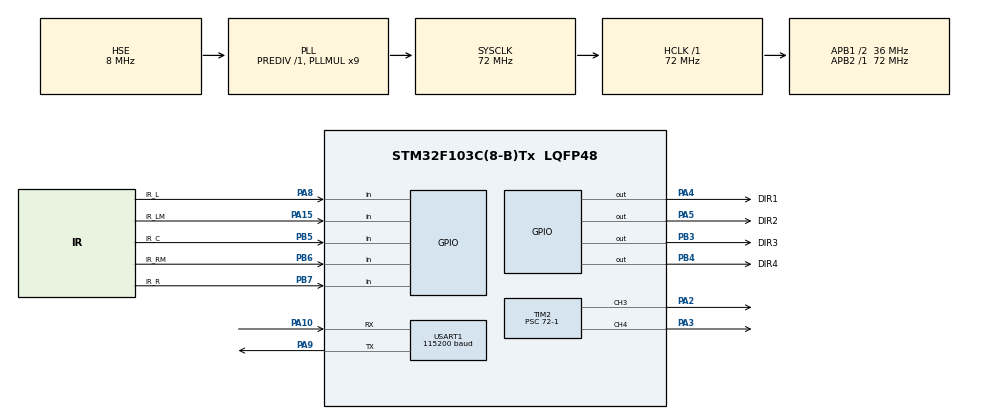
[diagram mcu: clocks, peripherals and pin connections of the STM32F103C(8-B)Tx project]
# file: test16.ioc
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Mcu.Family=STM32F1
Mcu.Name=STM32F103C(8-B)Tx
Mcu.Package=LQFP48
NVIC.EXTI15_10_IRQn=true\:0\:0\:false\:true\:true\:true\:true\:false
NVIC.PriorityGroup=NVIC_PRIORITYGROUP_4
PA13.Mode=Serial_Wire
PA13.Signal=SYS_JTMS-SWDIO
PA14.Mode=Serial_Wire
PA14.Signal=SYS_JTCK-SWCLK
PA2.Signal=S_TIM2_CH3
PA3.Signal=S_TIM2_CH4
PA4.GPIO_Label=DIR1
PA4.Signal=GPIO_Output
PA5.GPIO_Label=DIR2
PA5.Signal=GPIO_Output
PA8.GPIO_Label=IR_L
PA8.Signal=GPIO_Input
PA9.Mode=Asynchronous
PA9.Signal=USART1_TX
PA10.Mode=Asynchronous
PA10.Signal=USART1_RX
PA11.GPIO_Label=HALL1
PA11.GPIO_Mode=GPIO_Mode_EXTI
PA11.GPIO_PuPd=GPIO_PULLUP
PA11.Signal=SYS_EXTI11
PA12.GPIO_Label=HALL2
PA12.GPIO_Mode=GPIO_Mode_EXTI
PA12.GPIO_PuPd=GPIO_PULLUP
PA12.Signal=SYS_EXTI12
PA15.GPIO_Label=IR_LM
PA15.Signal=GPIO_Input
PB3.GPIO_Label=DIR3
PB3.Signal=GPIO_Output
PB4.GPIO_Label=DIR4
PB4.Signal=GPIO_Output
PB5.GPIO_Label=IR_C
PB5.Signal=GPIO_Input
PB6.GPIO_Label=IR_RM
PB6.Signal=GPIO_Input
PB7.GPIO_Label=IR_R
PB7.Signal=GPIO_Input
PC14-OSC32_IN.Mode=LSE-External-Oscillator
PC14-OSC32_IN.Signal=RCC_OSC32_IN
PC15-OSC32_OUT.Mode=LSE-External-Oscillator
PC15-OSC32_OUT.Signal=RCC_OSC32_OUT
PD0-OSC_IN.Mode=HSE-External-Oscillator
PD0-OSC_IN.Signal=RCC_OSC_IN
PD1-OSC_OUT.Mode=HSE-External-Oscillator
PD1-OSC_OUT.Signal=RCC_OSC_OUT
ProjectManager.HeapSize=0x200
ProjectManager.StackSize=0x400
ProjectManager.TargetToolchain=MDK-ARM V5.32
RCC.AHBFreq_Value=72000000
RCC.APB1CLKDivider=RCC_HCLK_DIV2
RCC.APB1Freq_Value=36000000
RCC.APB1TimFreq_Value=72000000
RCC.APB2Freq_Value=72000000
RCC.APB2TimFreq_Value=72000000
RCC.HCLKFreq_Value=72000000
RCC.PLLMUL=RCC_PLL_MUL9
RCC.PLLSourceVirtual=RCC_PLLSOURCE_HSE
RCC.SYSCLKFreq_VALUE=72000000
RCC.SYSCLKSource=RCC_SYSCLKSOURCE_PLLCLK
RCC.USBFreq_Value=72000000
SH.S_TIM2_CH3.0=TIM2_CH3,PWM Generation3 CH3
SH.S_TIM2_CH4.0=TIM2_CH4,PWM Generation4 CH4
TIM2.AutoReloadPreload=TIM_AUTORELOAD_PRELOAD_ENABLE
TIM2.Channel-PWM\ Generation3\ CH3=TIM_CHANNEL_3
TIM2.Channel-PWM\ Generation4\ CH4=TIM_CHANNEL_4
TIM2.Period=100-1
TIM2.Prescaler=72-1
USART1.BaudRate=115200
USART1.Mode=USART_MODE_TX_RX
USART1.Parity=None
USART1.StopBits=1
USART1.WordLength=USART_WORDLENGTH_8B
board=custom

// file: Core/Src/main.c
/* USER CODE BEGIN Header */
/**
  ******************************************************************************
  * @file           : main.c
  * @brief          : Main program body
  ******************************************************************************
  * @attention
  *
  * Copyright (c) 2026 STMicroelectronics.
  * All rights reserved.
  *
  * This software is licensed under terms that can be found in the LICENSE file
  * in the root directory of this software component.
  * If no LICENSE file comes with this software, it is provided AS-IS.
  *
  ******************************************************************************
  */
/* USER CODE END Header */
#include "main.h"
#include "tim.h"
#include "gpio.h"
#include "usart.h"

void SystemClock_Config(void);

/* USER CODE BEGIN 0 */
#include <stdio.h>
#include <string.h>
#include <stdlib.h>   /* atof: 串口在线调参用 */

#define BASE_SPEED      40    /* 基础速度默认值(0~99)：2026-08-2x 实测最优=40 */
#define KP              8     /* 循迹比例系数默认值：实测最优=8（直线蛇形时调小） */
#define KD              30    /* 微分系数默认值(放大10倍存: 30 = 3.0)，压蛇形用，配合20ms周期 */
#define PULSES_PER_REV  1     /* 霍尔每圈脉冲数：每轮1块磁铁(3片叠成一块)，每圈1脉冲 */

/* 丢线旋转找线参数 */
#define LOST_SPIN_DELAY 2     /* 丢线后前2个控制周期沿原方向修正(应对瞬间丢线) */
#define LOST_SPIN_SPEED 35    /* 持续丢线时原地旋转找线的轮速 */
#define LOST_MAX_CYCLES 150   /* 旋转上限(约1.5s@10ms)，找不到就停车，防跑飞 */

/* 循迹模块触发电平: 2026-08-19 实测本模块为"白板触发"型——
   白板: 信号灯亮、DO输出低；黑线: 灯灭、DO输出高。
   即黑线输出【高】电平才算检测到线 → 用 GPIO_PIN_SET。
   （若换模块变成黑线输出低电平，改回 GPIO_PIN_RESET） */
#define LINE_ACTIVE_LEVEL GPIO_PIN_SET

volatile uint32_t hall_count1 = 0;   /* 霍尔1脉冲计数(EXTI中断里累加) */
volatile uint32_t hall_count2 = 0;   /* 霍尔2脉冲计数 */
uint32_t rpm1 = 0, rpm2 = 0;         /* 最近一次计算的转速(RPM) */

/* ---- 可在线修改的参数（串口发 P 12.5 / S 80 / D 30 直接改，不用重烧）---- */
int16_t base_speed = BASE_SPEED;     /* 基础速度(0~99) */
int16_t kp_x10 = KP * 10;            /* KP 放大10倍保存(支持小数)，如 12.5 -> 125 */
int16_t kd_x10 = KD * 10;            /* KD 放大10倍保存，如 3.0 -> 30 */

/* ---- 串口在线调参：寄存器级单字节接收 → 攒一行 → 主循环解析 ---- */
static          char     cmd_line[32];
static          uint8_t  cmd_len   = 0;
static volatile uint8_t  cmd_ready = 0;
static          uint8_t  test_mode = 0;   /* T命令单电机测试模式: 1=暂停循迹，只响应T */

static int8_t last_error = 0;
static int8_t last_e    = 0;        /* PD控制: 上一次误差，算微分用 */
static uint8_t lost_cycles = 0;     /* 连续丢线的控制周期计数 */
static uint8_t line_lost   = 0;     /* 1=持续丢线(需要原地旋转找线) */

void change1(int16_t SPEED);
void change2(int16_t SPEED);
static void process_command(void);

/* 读取5路循迹传感器，返回加权误差: 偏左为负，偏右为正，居中为0 */
static int8_t read_sensors(void)
{
  GPIO_TypeDef* ports[5]  = {IR_L_GPIO_Port, IR_LM_GPIO_Port, IR_C_GPIO_Port, IR_RM_GPIO_Port, IR_R_GPIO_Port};
  const uint16_t     pins[5]   = {IR_L_Pin, IR_LM_Pin, IR_C_Pin, IR_RM_Pin, IR_R_Pin};
  const int8_t       weights[5] = {-2, -1, 0, 1, 2};   /* 左->右加权 */
  int8_t error = 0;
  uint8_t active = 0;

  for (uint8_t i = 0; i < 5; i++)
  {
    if (HAL_GPIO_ReadPin(ports[i], pins[i]) == LINE_ACTIVE_LEVEL)
    {
      error += weights[i];
      active++;
    }
  }
  if (active == 0)
  {
    lost_cycles++;
    if (lost_cycles <= LOST_SPIN_DELAY)
    {
      line_lost = 0;
      error = last_error * 2;        /* 短暂丢线: 沿上次偏差方向加强修正(应对传感器瞬断) */
    }
    else
    {
      line_lost = 1;                 /* 持续丢线: 交给 line_follow 原地旋转找线 */
      error = 0;
    }
  }
  else
  {
    last_error = error;
    lost_cycles = 0;
    line_lost = 0;
  }
  return error;
}

/* 循迹差速控制: 每10ms调用一次 (PD控制 + 丢线旋转找线)
   2026-08-20 实测确认映射：电机1(change1/TIM2_CH3/A通道/AO)=【左】轮，
   电机2(change2/TIM2_CH4/B通道/BO)=【右】轮
   差速修正：线偏右(error>0)→corr>0→左轮加速、右轮减速→车右转追线
   PD控制: corr = P项 + D项；D项抑制直线蛇形(甩头)
   丢线旋转(2026-08-2x): 持续丢线时原地旋转找线，对付直角弯/锐角弯 */
static void line_follow(int16_t base_speed)
{
  int8_t e = read_sensors();

  /* 持续丢线: 原地旋转找线（先朝上次偏差方向转） */
  if (line_lost)
  {
    if (lost_cycles > LOST_MAX_CYCLES)
    {
      change1(0); change2(0);        /* 找线超时: 停车防跑飞 */
    }
    else if (last_error >= 0)
    {
      change1(LOST_SPIN_SPEED);      /* 线之前在右 → 右轮后退左轮前进 = 右转找线 */
      change2(-LOST_SPIN_SPEED);
    }
    else
    {
      change1(-LOST_SPIN_SPEED);     /* 线之前在左 → 左转找线 */
      change2(LOST_SPIN_SPEED);
    }
    return;
  }

  int16_t d_term = (int16_t)(e - last_e);          /* 误差变化率(微分) */
  int16_t corr = (kp_x10 * e) / 10 + (kd_x10 * d_term) / 10;  /* P项 + D项 */
  last_e = e;
  if (corr > 99)  corr = 99;
  if (corr < -99) corr = -99;
  int16_t m1   = base_speed + corr;  /* 电机1 = 左轮: 线偏右时加速 */
  int16_t m2   = base_speed - corr;  /* 电机2 = 右轮: 线偏右时减速 */
  if (m1 > 99)  m1 = 99;
  if (m1 < -99) m1 = -99;
  if (m2 > 99)  m2 = 99;
  if (m2 < -99) m2 = -99;
  change1(m1);
  change2(m2);
}

/* 测速+串口打印: 每500ms调用一次 */
static void speed_report(void)
{
  uint32_t c1 = hall_count1, c2 = hall_count2;
  hall_count1 = 0;
  hall_count2 = 0;
  /* 500ms内计数 * 120 = 每分钟脉冲数(60s/0.5s)，再除以每转脉冲数得RPM */
  rpm1 = c1 * 120 / PULSES_PER_REV;
  rpm2 = c2 * 120 / PULSES_PER_REV;

  char buf[96];
  int n = snprintf(buf, sizeof(buf),
    "IR:%d%d%d%d%d RPM1=%lu RPM2=%lu KP=%d.%d KD=%d.%d SP=%d\r\n",
    (HAL_GPIO_ReadPin(IR_L_GPIO_Port,  IR_L_Pin)  == LINE_ACTIVE_LEVEL),
    (HAL_GPIO_ReadPin(IR_LM_GPIO_Port, IR_LM_Pin) == LINE_ACTIVE_LEVEL),
    (HAL_GPIO_ReadPin(IR_C_GPIO_Port,  IR_C_Pin)  == LINE_ACTIVE_LEVEL),
    (HAL_GPIO_ReadPin(IR_RM_GPIO_Port, IR_RM_Pin) == LINE_ACTIVE_LEVEL),
    (HAL_GPIO_ReadPin(IR_R_GPIO_Port,  IR_R_Pin)  == LINE_ACTIVE_LEVEL),
    (unsigned long)rpm1, (unsigned long)rpm2,
    kp_x10 / 10, kp_x10 % 10, kd_x10 / 10, kd_x10 % 10, base_speed);
  if (n > 0)
  {
    HAL_UART_Transmit(&huart1, (uint8_t*)buf, (uint16_t)n, 100);
  }
}
/* USER CODE END 0 */

int main(void)
{

  /* MCU Configuration--------------------------------------------------------*/

  /* Reset of all peripherals, Initializes the Flash interface and the Systick. */
  HAL_Init();

  /* Configure the system clock */
  SystemClock_Config();

  /* Initialize all configured peripherals */
  MX_GPIO_Init();
  MX_TIM2_Init();
  MX_USART1_UART_Init();
  /* USER CODE BEGIN 2 */
HAL_TIM_PWM_Start(&htim2,TIM_CHANNEL_3);
  HAL_TIM_PWM_Start(&htim2,TIM_CHANNEL_4);

  HAL_NVIC_EnableIRQ(USART1_IRQn);                    /* 开串口接收中断(在线调参) */
  USART1->CR1 |= USART_CR1_RXNEIE;                    /* 直接使能RXNE中断(绕开HAL状态机，防卡死) */

  /* USER CODE END 2 */

  /* Infinite loop */
  /* USER CODE BEGIN WHILE */
  uint32_t t_ctl = 0, t_spd = 0;   /* 控制周期计时 */
  while (1)
  {
		uint32_t now = HAL_GetTick();
		if (test_mode == 0)                                            /* T单电机测试时暂停循迹 */
		{
			if (now - t_ctl >= 20)  { t_ctl = now; line_follow(base_speed); }  /* 50Hz 循迹控制(20ms, 实测最优; 10ms会让D项噪声放大导致蛇形) */
		}
		if (now - t_spd >= 500) { t_spd = now; speed_report(); }           /* 每0.5s 测速+串口打印 */
		process_command();                                                /* 串口在线调参 */

    /* USER CODE END WHILE */

  }
}

void SystemClock_Config(void)
{
  RCC_OscInitTypeDef RCC_OscInitStruct = {0};
  RCC_ClkInitTypeDef RCC_ClkInitStruct = {0};

  /** Initializes the RCC Oscillators according to the specified parameters
  * in the RCC_OscInitTypeDef structure.
  */
  RCC_OscInitStruct.OscillatorType = RCC_OSCILLATORTYPE_HSE;
  RCC_OscInitStruct.HSEState = RCC_HSE_ON;
  RCC_OscInitStruct.HSEPredivValue = RCC_HSE_PREDIV_DIV1;
  RCC_OscInitStruct.HSIState = RCC_HSI_ON;
  RCC_OscInitStruct.PLL.PLLState = RCC_PLL_ON;
  RCC_OscInitStruct.PLL.PLLSource = RCC_PLLSOURCE_HSE;
  RCC_OscInitStruct.PLL.PLLMUL = RCC_PLL_MUL9;
  if (HAL_RCC_OscConfig(&RCC_OscInitStruct) != HAL_OK)
  {
    Error_Handler();
  }

  /** Initializes the CPU, AHB and APB buses clocks
  */
  RCC_ClkInitStruct.ClockType = RCC_CLOCKTYPE_HCLK|RCC_CLOCKTYPE_SYSCLK
                              |RCC_CLOCKTYPE_PCLK1|RCC_CLOCKTYPE_PCLK2;
  RCC_ClkInitStruct.SYSCLKSource = RCC_SYSCLKSOURCE_PLLCLK;
  RCC_ClkInitStruct.AHBCLKDivider = RCC_SYSCLK_DIV1;
  RCC_ClkInitStruct.APB1CLKDivider = RCC_HCLK_DIV2;
  RCC_ClkInitStruct.APB2CLKDivider = RCC_HCLK_DIV1;

  if (HAL_RCC_ClockConfig(&RCC_ClkInitStruct, FLASH_LATENCY_2) != HAL_OK)
  {
    Error_Handler();
  }
}

/* USER CODE BEGIN 4 */
void change1(int16_t SPEED)
{
	if(SPEED>0)
	{
		HAL_GPIO_WritePin(DIR1_GPIO_Port, DIR1_Pin, GPIO_PIN_RESET);
		HAL_GPIO_WritePin(DIR2_GPIO_Port, DIR2_Pin, GPIO_PIN_SET);
		__HAL_TIM_SET_COMPARE(&htim2,TIM_CHANNEL_3,SPEED);
	}else if(SPEED<0)
	{
		HAL_GPIO_WritePin(DIR2_GPIO_Port, DIR2_Pin, GPIO_PIN_RESET);
		HAL_GPIO_WritePin(DIR1_GPIO_Port, DIR1_Pin, GPIO_PIN_SET);
		__HAL_TIM_SET_COMPARE(&htim2,TIM_CHANNEL_3,-SPEED);
	}else
	{
		HAL_GPIO_WritePin(DIR1_GPIO_Port, DIR1_Pin, GPIO_PIN_RESET);
		HAL_GPIO_WritePin(DIR2_GPIO_Port, DIR2_Pin, GPIO_PIN_RESET);
		__HAL_TIM_SET_COMPARE(&htim2,TIM_CHANNEL_3,0);
	}
}

void change2(int16_t SPEED)
{
	if(SPEED>0)
	{
		HAL_GPIO_WritePin(DIR3_GPIO_Port, DIR3_Pin, GPIO_PIN_SET);   /* 2026-08-19: 电机2实测反转，方向电平对调 */
		HAL_GPIO_WritePin(DIR4_GPIO_Port, DIR4_Pin, GPIO_PIN_RESET);
		__HAL_TIM_SET_COMPARE(&htim2,TIM_CHANNEL_4,SPEED);
	}else if(SPEED<0)
	{
		HAL_GPIO_WritePin(DIR4_GPIO_Port, DIR4_Pin, GPIO_PIN_SET);
		HAL_GPIO_WritePin(DIR3_GPIO_Port, DIR3_Pin, GPIO_PIN_RESET);
		__HAL_TIM_SET_COMPARE(&htim2,TIM_CHANNEL_4,-SPEED);
	}else
	{
		HAL_GPIO_WritePin(DIR3_GPIO_Port, DIR3_Pin, GPIO_PIN_RESET);
		HAL_GPIO_WritePin(DIR4_GPIO_Port, DIR4_Pin, GPIO_PIN_RESET);
		__HAL_TIM_SET_COMPARE(&htim2,TIM_CHANNEL_4,0);
	}
}

/* 霍尔脉冲中断回调: 上升沿触发(PA11/PA12)
   ⚠️ 必须用按位与(&)判断！EXTI15_10_IRQHandler 传进来的是合并掩码
   (GPIO_PIN_11|GPIO_PIN_12=0x1800)，用 == 永远不相等（2026-08-19 修复） */
void HAL_GPIO_EXTI_Callback(uint16_t GPIO_Pin)
{
  if (GPIO_Pin & GPIO_PIN_11)
  {
    hall_count1++;
  }
  if (GPIO_Pin & GPIO_PIN_12)
  {
    hall_count2++;
  }
}

/* ---- 串口在线调参 ---- */
/* 处理一条完整命令（主循环调用）: P <KP 0.5~50> / S <SPEED 0~99> */
static void process_command(void)
{
  if (!cmd_ready) { return; }
  cmd_ready = 0;
  char  c = (char)(cmd_line[0] & 0xDF);   /* 首字母转大写 */
  float v = atof(cmd_line + 1);           /* 兼容 "P 15" 和 "P15" */
  char buf[48];
  int  n = 0;
  if (c == 'P')
  {
    if (v >= 0.5f && v <= 50.0f) { kp_x10 = (int16_t)(v * 10.0f + 0.5f); }
    n = snprintf(buf, sizeof(buf), "OK KP=%d.%d\r\n", kp_x10 / 10, kp_x10 % 10);
  }
  else if (c == 'S')
  {
    test_mode = 0;                          /* S 命令同时退出单电机测试模式 */
    if (v >= 0.0f && v <= 99.0f) { base_speed = (int16_t)(v + 0.5f); }
    n = snprintf(buf, sizeof(buf), "OK SP=%d\r\n", base_speed);
  }
  else if (c == 'D')                        /* D <系数0~20>: 在线调微分项(压蛇形) */
  {
    if (v >= 0.0f && v <= 20.0f) { kd_x10 = (int16_t)(v * 10.0f + 0.5f); }
    n = snprintf(buf, sizeof(buf), "OK KD=%d.%d\r\n", kd_x10 / 10, kd_x10 % 10);
  }
  else if (c == 'H')                        /* H: 读 PA11/PA12 实时电平，查霍尔接线 */
  {
    n = snprintf(buf, sizeof(buf), "HALL1=%d HALL2=%d\r\n",
      (HAL_GPIO_ReadPin(HALL1_GPIO_Port, HALL1_Pin) != GPIO_PIN_RESET),
      (HAL_GPIO_ReadPin(HALL2_GPIO_Port, HALL2_Pin) != GPIO_PIN_RESET));
  }
  else if (c == 'T')                        /* T <1|2> <速度>: 单电机转向测试 */
  {
    int mot = 0, spd = 0;
    if (sscanf(cmd_line + 1, "%d %d", &mot, &spd) == 2)
    {
      if (spd > 99) { spd = 99; } else if (spd < -99) { spd = -99; }
      if (mot == 1) { change1((int16_t)spd); test_mode = 1; }
      else if (mot == 2) { change2((int16_t)spd); test_mode = 1; }
      else { change1(0); change2(0); test_mode = 0; }   /* T 0 0 = 停止测试 */
      n = snprintf(buf, sizeof(buf), "OK T%d=%d\r\n", mot, spd);
    }
    else
    {
      n = snprintf(buf, sizeof(buf), "USE: T <1|2> <speed 0~99>\r\n");
    }
  }
  else
  {
    n = snprintf(buf, sizeof(buf), "CMD: P <KP 0.5~50> / S <SPEED 0~99>\r\n");
  }
  if (n > 0) { HAL_UART_Transmit(&huart1, (uint8_t*)buf, (uint16_t)n, 100); }
}

/* USART1 中断入口: 寄存器级接收（直接读 SR/DR，绕开 HAL 状态机）
   即使发生溢出(ORE)也只清标志继续收，不会像 HAL Receive_IT 那样卡死 */
void USART1_IRQHandler(void)
{
  uint32_t sr = USART1->SR;
  if (sr & USART_SR_RXNE)                  /* 收到一字节 */
  {
    uint8_t b = (uint8_t)(USART1->DR & 0xFF);   /* 读 DR 自动清 RXNE */
    if (b == '\n' || b == '\r')            /* 回车/换行 = 一条命令结束 */
    {
      if (cmd_len > 0)
{
cmd_line[cmd_len] = '\0'; cmd_len = 0; cmd_ready = 1;
}
    }
    else if (cmd_len < (uint8_t)(sizeof(cmd_line) - 1))
    {
      cmd_line[cmd_len++] = (char)b;
    }
  }
  else if (sr & USART_SR_ORE)              /* 溢出: 读 DR 清标志，防止 RXNE 中断失效 */
  {
    (void)USART1->DR;
  }
}

/* USER CODE END 4 */

void Error_Handler(void)
{
  __disable_irq();
  while (1)
  {
  }
}
